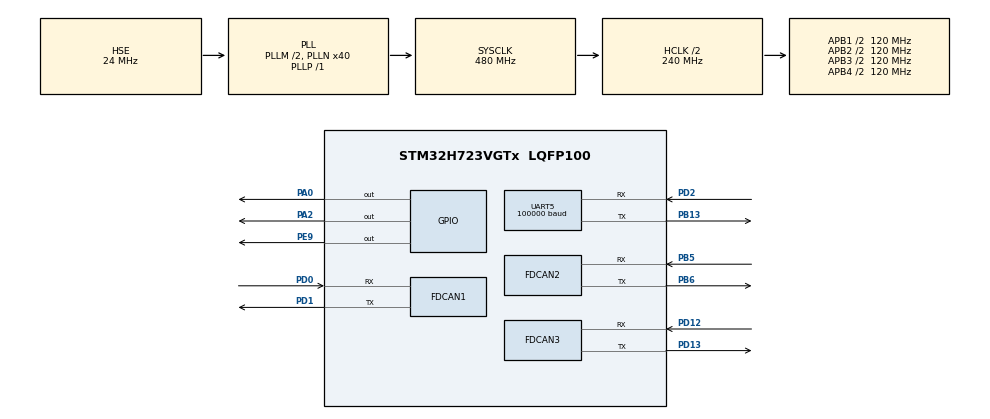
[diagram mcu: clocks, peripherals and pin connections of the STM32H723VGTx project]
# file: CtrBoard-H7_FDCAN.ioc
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CORTEX_M7.CPU_DCache=Enabled
CORTEX_M7.CPU_ICache=Enabled
Dma.Request0=UART5_RX
Dma.UART5_RX.0.Direction=DMA_PERIPH_TO_MEMORY
Dma.UART5_RX.0.EventEnable=DISABLE
Dma.UART5_RX.0.FIFOMode=DMA_FIFOMODE_DISABLE
Dma.UART5_RX.0.Instance=DMA1_Stream0
Dma.UART5_RX.0.MemDataAlignment=DMA_MDATAALIGN_BYTE
Dma.UART5_RX.0.MemInc=DMA_MINC_ENABLE
Dma.UART5_RX.0.Mode=DMA_NORMAL
Dma.UART5_RX.0.PeriphDataAlignment=DMA_PDATAALIGN_BYTE
Dma.UART5_RX.0.PeriphInc=DMA_PINC_DISABLE
Dma.UART5_RX.0.Polarity=HAL_DMAMUX_REQ_GEN_RISING
Dma.UART5_RX.0.Priority=DMA_PRIORITY_LOW
Dma.UART5_RX.0.RequestNumber=1
Dma.UART5_RX.0.SignalID=NONE
Dma.UART5_RX.0.SyncEnable=DISABLE
Dma.UART5_RX.0.SyncPolarity=HAL_DMAMUX_SYNC_NO_EVENT
Dma.UART5_RX.0.SyncRequestNumber=1
Dma.UART5_RX.0.SyncSignalID=NONE
FDCAN1.AutoRetransmission=ENABLE
FDCAN1.CalculateBaudRateNominal=1000000
FDCAN1.CalculateTimeBitNominal=1000
FDCAN1.CalculateTimeQuantumNominal=12.5
FDCAN1.DataSyncJumpWidth=2
FDCAN1.DataTimeSeg1=13
FDCAN1.DataTimeSeg2=2
FDCAN1.ExtFiltersNbr=4
FDCAN1.Mode=FDCAN_MODE_NORMAL
FDCAN1.NominalPrescaler=1
FDCAN1.NominalSyncJumpWidth=20
FDCAN1.NominalTimeSeg1=59
FDCAN1.NominalTimeSeg2=20
FDCAN1.ProtocolException=ENABLE
FDCAN1.RxBuffersNbr=2
FDCAN1.RxFifo0ElmtsNbr=8
FDCAN1.RxFifo1ElmtsNbr=8
FDCAN1.StdFiltersNbr=4
FDCAN1.TransmitPause=DISABLE
FDCAN1.TxBuffersNbr=8
FDCAN1.TxEventsNbr=8
FDCAN1.TxFifoQueueElmtsNbr=8
FDCAN2.AutoRetransmission=ENABLE
FDCAN2.CalculateBaudRateNominal=1000000
FDCAN2.CalculateTimeBitNominal=1000
FDCAN2.CalculateTimeQuantumNominal=12.5
FDCAN2.DataSyncJumpWidth=2
FDCAN2.DataTimeSeg1=13
FDCAN2.ExtFiltersNbr=4
FDCAN2.MessageRAMOffset=0x406
FDCAN2.Mode=FDCAN_MODE_NORMAL
FDCAN2.NominalPrescaler=1
FDCAN2.NominalSyncJumpWidth=20
FDCAN2.NominalTimeSeg1=59
FDCAN2.NominalTimeSeg2=20
FDCAN2.ProtocolException=ENABLE
FDCAN2.RxBuffersNbr=3
FDCAN2.RxFifo0ElmtsNbr=8
FDCAN2.RxFifo1ElmtsNbr=8
FDCAN2.StdFiltersNbr=4
FDCAN2.TxBuffersNbr=8
FDCAN2.TxEventsNbr=8
FDCAN2.TxFifoQueueElmtsNbr=8
FDCAN3.CalculateBaudRateNominal=1000000
FDCAN3.CalculateTimeBitNominal=1000
FDCAN3.CalculateTimeQuantumNominal=12.5
FDCAN3.DataSyncJumpWidth=2
FDCAN3.DataTimeSeg1=13
FDCAN3.DataTimeSeg2=2
FDCAN3.ExtFiltersNbr=4
FDCAN3.MessageRAMOffset=0x812
FDCAN3.Mode=FDCAN_MODE_NORMAL
FDCAN3.NominalPrescaler=1
FDCAN3.NominalSyncJumpWidth=20
FDCAN3.NominalTimeSeg1=59
FDCAN3.NominalTimeSeg2=20
FDCAN3.RxBuffersNbr=2
FDCAN3.RxFifo0ElmtsNbr=8
FDCAN3.RxFifo1ElmtsNbr=8
FDCAN3.StdFiltersNbr=4
FDCAN3.TxBuffersNbr=8
FDCAN3.TxEventsNbr=8
FDCAN3.TxFifoQueueElmtsNbr=8
Mcu.Family=STM32H7
Mcu.Name=STM32H723VGTx
Mcu.Package=LQFP100
NVIC.DMA1_Stream0_IRQn=true\:0\:0\:false\:false\:true\:false\:true\:true
NVIC.FDCAN1_IT0_IRQn=true\:0\:0\:false\:false\:true\:true\:true\:true
NVIC.FDCAN1_IT1_IRQn=true\:0\:0\:false\:false\:true\:true\:true\:true
NVIC.FDCAN2_IT0_IRQn=true\:0\:0\:false\:false\:true\:true\:true\:true
NVIC.FDCAN2_IT1_IRQn=true\:0\:0\:false\:false\:true\:true\:true\:true
NVIC.FDCAN3_IT0_IRQn=true\:0\:0\:false\:false\:true\:true\:true\:true
NVIC.FDCAN3_IT1_IRQn=true\:0\:0\:false\:false\:true\:true\:true\:true
NVIC.PriorityGroup=NVIC_PRIORITYGROUP_4
NVIC.UART5_IRQn=true\:0\:0\:false\:false\:true\:true\:true\:true
PA0.PinState=GPIO_PIN_SET
PA0.Signal=GPIO_Output
PA13(JTMS/SWDIO).Mode=Serial_Wire
PA13(JTMS/SWDIO).Signal=DEBUG_JTMS-SWDIO
PA14(JTCK/SWCLK).Mode=Serial_Wire
PA14(JTCK/SWCLK).Signal=DEBUG_JTCK-SWCLK
PA2.PinState=GPIO_PIN_SET
PA2.Signal=GPIO_Output
PB13.Mode=Asynchronous
PB13.Signal=UART5_TX
PB5.Mode=FDCAN_Activate
PB5.Signal=FDCAN2_RX
PB6.Mode=FDCAN_Activate
PB6.Signal=FDCAN2_TX
PD0.Mode=FDCAN_Activate
PD0.Signal=FDCAN1_RX
PD1.Mode=FDCAN_Activate
PD1.Signal=FDCAN1_TX
PD12.Mode=FDCAN_Activate
PD12.Signal=FDCAN3_RX
PD13.Mode=FDCAN_Activate
PD13.Signal=FDCAN3_TX
PD2.Mode=Asynchronous
PD2.Signal=UART5_RX
PE9.PinState=GPIO_PIN_SET
PE9.Signal=GPIO_Output
PH0-OSC_IN.Mode=HSE-External-Oscillator
PH0-OSC_IN.Signal=RCC_OSC_IN
PH1-OSC_OUT.Mode=HSE-External-Oscillator
PH1-OSC_OUT.Signal=RCC_OSC_OUT
ProjectManager.HeapSize=0x200
ProjectManager.StackSize=0x400
ProjectManager.TargetToolchain=MDK-ARM V5.32
RCC.ADCFreq_Value=48375000
RCC.APB1Freq_Value=120000000
RCC.APB2Freq_Value=120000000
RCC.APB3Freq_Value=120000000
RCC.APB4Freq_Value=120000000
RCC.CortexFreq_Value=480000000
RCC.D1PPRE=RCC_APB3_DIV2
RCC.D2PPRE1=RCC_APB1_DIV2
RCC.D2PPRE2=RCC_APB2_DIV2
RCC.D3PPRE=RCC_APB4_DIV2
RCC.DIVM1=2
RCC.DIVN1=40
RCC.DIVP1=1
RCC.DIVQ1=6
RCC.HCLKFreq_Value=240000000
RCC.HPRE=RCC_HCLK_DIV2
RCC.HSE_VALUE=24000000
RCC.PLLFRACN=0
RCC.PLLSourceVirtual=RCC_PLLSOURCE_HSE
RCC.SYSCLKFreq_VALUE=480000000
RCC.SYSCLKSource=RCC_SYSCLKSOURCE_PLLCLK
RCC.USBFreq_Value=80000000
UART5.BaudRate=100000
UART5.Parity=PARITY_EVEN
UART5.StopBits=UART_STOPBITS_2
UART5.WordLength=WORDLENGTH_9B
VP_MEMORYMAP_VS_MEMORYMAP.Mode=CurAppReg
board=custom

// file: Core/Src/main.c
/* USER CODE BEGIN Header */
/**
 ******************************************************************************
 * @file           : main.c
 * @brief          : Main program body
 ******************************************************************************
 * @attention
 *
 * Copyright (c) 2024 STMicroelectronics.
 * All rights reserved.
 *
 * This software is licensed under terms that can be found in the LICENSE file
 * in the root directory of this software component.
 * If no LICENSE file comes with this software, it is provided AS-IS.
 *
 ******************************************************************************
 */
/* USER CODE END Header */
#include "main.h"
#include "dma.h"
#include "fdcan.h"
#include "memorymap.h"
#include "usart.h"
#include "gpio.h"

/* USER CODE BEGIN Includes */
#include "uart_bsp.h"
#include "bsp_fdcan.h"
#include "drv_dmmotor.h"
#include "controler_task.h"
#include "chassis_task.h"
#include "controler_task.h"
#include "EZ_RTOS.h"
#include "drv_8030.h"
/* USER CODE END Includes */

void SystemClock_Config(void);

/* USER CODE BEGIN 0 */
uint8_t tx_data[8] = {0XFF, 0XFF, 0XFF, 0XFF, 0XFF, 0XFF, 0XFF, 0XFC};
uint32_t time;
uint8_t node_id;
/* USER CODE END 0 */

int main(void)
{

  /* Enable the CPU Cache */

  /* Enable I-Cache---------------------------------------------------------*/
  SCB_EnableICache();

  /* Enable D-Cache---------------------------------------------------------*/
  SCB_EnableDCache();

  /* MCU Configuration--------------------------------------------------------*/

  /* Reset of all peripherals, Initializes the Flash interface and the Systick. */
  HAL_Init();

  /* Configure the system clock */
  SystemClock_Config();

  /* Initialize all configured peripherals */
  MX_GPIO_Init();
  MX_DMA_Init();
  MX_FDCAN1_Init();
  MX_FDCAN2_Init();
  MX_FDCAN3_Init();
  MX_UART5_Init();
  /* USER CODE BEGIN 2 */
  SCB_DisableDCache();
  can_filter_init();
  chassis_init();
  HAL_UARTEx_ReceiveToIdle_DMA(&huart5, rx_buff, BUFF_SIZE * 2);
  rtos_add_task(controler_task);
  rtos_add_task(chassis_task);
  HAL_Delay(150);
  MotoEnable(&hfdcan1, 0x01);
  HAL_Delay(150);
  MotoEnable(&hfdcan1, 0x03);
  HAL_Delay(150);
  //  MotoSpeedConfigExample(&hfdcan1,0x01);
  //  HAL_Delay(150);
  //	MotoSpeedConfigExample(&hfdcan1,0x03);

  /* USER CODE END 2 */

  /* Infinite loop */
  while (1)
  {

    /* USER CODE BEGIN 3 */
    //		time++;
    rtos_start();
  }
  /* USER CODE END 3 */
}

void SystemClock_Config(void)
{
  RCC_OscInitTypeDef RCC_OscInitStruct = {0};
  RCC_ClkInitTypeDef RCC_ClkInitStruct = {0};

  /** Supply configuration update enable
   */
  HAL_PWREx_ConfigSupply(PWR_LDO_SUPPLY);

  /** Configure the main internal regulator output voltage
   */
  __HAL_PWR_VOLTAGESCALING_CONFIG(PWR_REGULATOR_VOLTAGE_SCALE0);

  while (!__HAL_PWR_GET_FLAG(PWR_FLAG_VOSRDY))
  {
  }

  /** Initializes the RCC Oscillators according to the specified parameters
   * in the RCC_OscInitTypeDef structure.
   */
  RCC_OscInitStruct.OscillatorType = RCC_OSCILLATORTYPE_HSE;
  RCC_OscInitStruct.HSEState = RCC_HSE_ON;
  RCC_OscInitStruct.PLL.PLLState = RCC_PLL_ON;
  RCC_OscInitStruct.PLL.PLLSource = RCC_PLLSOURCE_HSE;
  RCC_OscInitStruct.PLL.PLLM = 2;
  RCC_OscInitStruct.PLL.PLLN = 40;
  RCC_OscInitStruct.PLL.PLLP = 1;
  RCC_OscInitStruct.PLL.PLLQ = 6;
  RCC_OscInitStruct.PLL.PLLR = 2;
  RCC_OscInitStruct.PLL.PLLRGE = RCC_PLL1VCIRANGE_3;
  RCC_OscInitStruct.PLL.PLLVCOSEL = RCC_PLL1VCOWIDE;
  RCC_OscInitStruct.PLL.PLLFRACN = 0;
  if (HAL_RCC_OscConfig(&RCC_OscInitStruct) != HAL_OK)
  {
    Error_Handler();
  }

  /** Initializes the CPU, AHB and APB buses clocks
   */
  RCC_ClkInitStruct.ClockType = RCC_CLOCKTYPE_HCLK | RCC_CLOCKTYPE_SYSCLK | RCC_CLOCKTYPE_PCLK1 | RCC_CLOCKTYPE_PCLK2 | RCC_CLOCKTYPE_D3PCLK1 | RCC_CLOCKTYPE_D1PCLK1;
  RCC_ClkInitStruct.SYSCLKSource = RCC_SYSCLKSOURCE_PLLCLK;
  RCC_ClkInitStruct.SYSCLKDivider = RCC_SYSCLK_DIV1;
  RCC_ClkInitStruct.AHBCLKDivider = RCC_HCLK_DIV2;
  RCC_ClkInitStruct.APB3CLKDivider = RCC_APB3_DIV2;
  RCC_ClkInitStruct.APB1CLKDivider = RCC_APB1_DIV2;
  RCC_ClkInitStruct.APB2CLKDivider = RCC_APB2_DIV2;
  RCC_ClkInitStruct.APB4CLKDivider = RCC_APB4_DIV2;

  if (HAL_RCC_ClockConfig(&RCC_ClkInitStruct, FLASH_LATENCY_3) != HAL_OK)
  {
    Error_Handler();
  }
}

void Error_Handler(void)
{
  __disable_irq();
  while (1)
  {
  }
}
